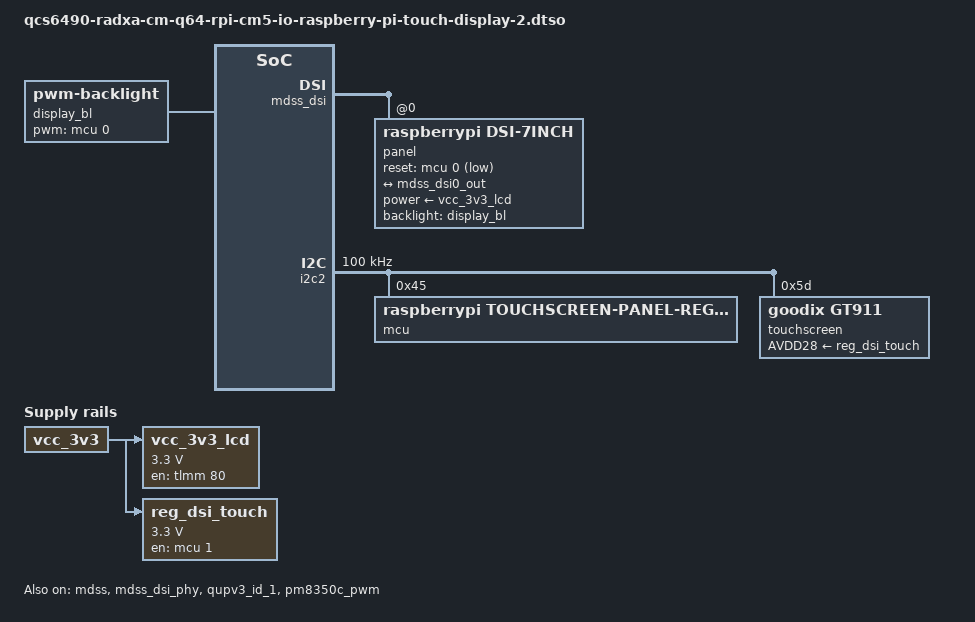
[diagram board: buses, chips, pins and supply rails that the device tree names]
// SPDX-License-Identifier: BSD-3-Clause
/*
 * Copyright (c) 2025 Radxa Computer (Shenzhen) Co., Ltd.
 */

/dts-v1/;
/plugin/;

#include <dt-bindings/gpio/gpio.h>
#include <dt-bindings/interrupt-controller/irq.h>
#include <dt-bindings/pinctrl/qcom,pmic-gpio.h>
#include <dt-bindings/pwm/pwm.h>

/ {
	metadata {
		title = "Enable Raspberry Pi Touch Display 2";
		compatible = "radxa,cm-q64-rpi-cm5-io";
		category = "display";
		exclusive = "mdss_dsi";
		description = "Enable Raspberry Pi Touch Display 2.";
	};
};

&{/} {
	vcc_3v3_lcd: vcc-3v3-lcd-regulator {
		compatible = "regulator-fixed";
		regulator-name = "vcc_3v3_lcd";
		regulator-min-microvolt = <3300000>;
		regulator-max-microvolt = <3300000>;
		gpio = <&tlmm 80 GPIO_ACTIVE_HIGH>;
		enable-active-high;
		vin-supply = <&vcc_3v3>;
	};

	display_bl: backlight {
		compatible = "pwm-backlight";
		pwms = <&mcu 0 255 0>;
	};

	reg_dsi_touch: regulator-dsi-touch {
		compatible = "regulator-fixed";
		gpio = <&mcu 1 GPIO_ACTIVE_HIGH>;
		regulator-name = "rpi-touch";
		regulator-min-microvolt = <3300000>;
		regulator-max-microvolt = <3300000>;
		startup-delay-us = <50000>;
		enable-active-high;
		vin-supply = <&vcc_3v3>;
	};
};

&mdss {
	status = "okay";
};

&mdss_dsi {
	vdda-supply = <&vreg_l6b_1p2>;
	#address-cells = <1>;
	#size-cells = <0>;

	status = "okay";


	panel@0 {
		compatible = "raspberrypi,dsi-7inch", "ilitek,ili9881c";
		reg = <0>;
		reset-gpios = <&mcu 0 GPIO_ACTIVE_LOW>;
		power-supply = <&vcc_3v3_lcd>;
		backlight = <&display_bl>;

		ports {
			#address-cells = <1>;
			#size-cells = <0>;

			port@0 {
				reg = <0>;
				panel_in_dsi1: endpoint {
					remote-endpoint = <&mdss_dsi0_out>;
				};
			};
		};
	};
};

&mdss_dsi0_out {
	remote-endpoint = <&panel_in_dsi1>;
	data-lanes = <0 1 2 3>;
};

&mdss_dsi_phy {
	vdds-supply = <&vreg_l10c_0p88>;
	status = "okay";
};

&qupv3_id_1 {
	status = "okay";
};

&i2c2 {
	clock-frequency = <100000>;
	#address-cells = <1>;
	#size-cells = <0>;

	status = "okay";

	mcu: regulator@45 {
		compatible = "raspberrypi,touchscreen-panel-regulator-v2";
		reg = <0x45>;
		gpio-controller;
		#gpio-cells = <2>;
		#pwm-cells = <3>;
	};

	touchscreen@5d {
		compatible = "goodix,gt911";
		reg = <0x5d>;
		AVDD28-supply = <&reg_dsi_touch>;
		touchscreen-size-x = <720>;
		touchscreen-size-y = <1280>;
	};
};

&tlmm {
	lcd_panel_reset: lcd-panel-reset {
		pins = "gpio44";
		function = "gpio";
		drive-strength = <8>;
		bias-disable;
	};

	ts_int_conn: ts-int-conn-state {
		pins = "gpio81";
		function = "gpio";
		bias-disable;
	};

	ts_rst_conn: ts-rst-conn-state {
		pins = "gpio105";
		function = "gpio";
		drive-strength = <2>;
		bias-disable;
	};
};

&pm8350c_gpios {
	lcd_bl_pwm: dsi-lcd-bl-pwm-state {
		pins = "gpio8";
		function = "func1";
		bias-disable;
		qcom,drive-strength = <PMIC_GPIO_STRENGTH_LOW>;
		output-low;
		power-source = <0>;
	};
};

&pm8350c_pwm {
	status = "okay";
};
